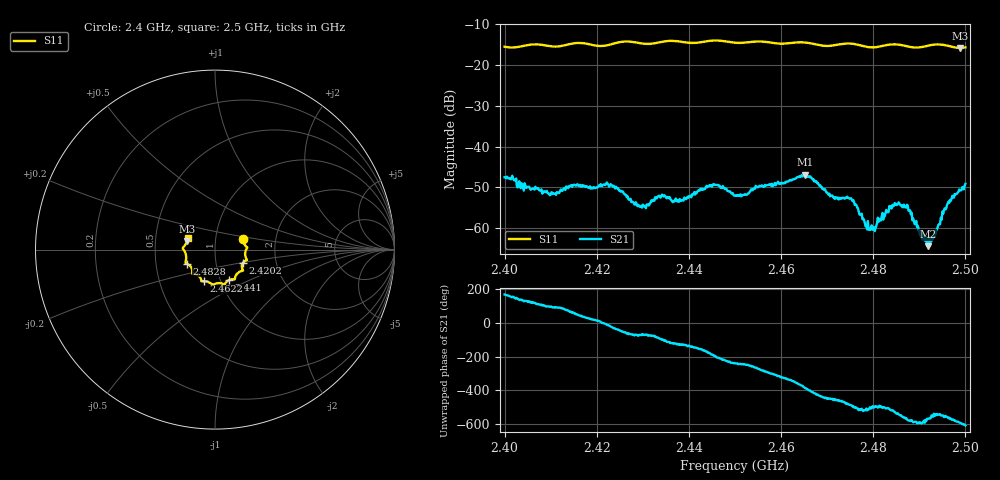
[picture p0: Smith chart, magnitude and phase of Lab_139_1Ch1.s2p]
# Hz S RI R 50
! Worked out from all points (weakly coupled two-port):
!   601 points, 2.4 GHz to 2.5 GHz, reference 50 ohm
!   highest |S21| = -46.91 dB at 2.4652 GHz (marker M1); lowest = -64.5 dB at 2.4918 GHz (marker M2)
!   lowest |S11| = -15.8 dB at 2.4988 GHz (marker M3), VSWR 1.39, Z = 36.4 + j3.43 ohm
!   |S11| at or under -10 dB: start of sweep to end of sweep
!   S12 and S22 are empty: the file has one direction only
!   S11 on the Smith chart (normalised r, x): 2.4 GHz: 1.36, +0.17; 2.4202 GHz: 1.35, -0.20; 2.441 GHz: 1.10, -0.39; 2.4622 GHz: 0.83, -0.30; 2.4828 GHz: 0.72, -0.12; 2.5 GHz: 0.73, +0.09
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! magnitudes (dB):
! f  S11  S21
! 2.4 GHz  -15.5  -47.6
! 2.41 GHz  -15.4  -51.8
! 2.4167 GHz  -14.6  -49.8
! 2.4202 GHz  -15.3  -50.0
! 2.4233 GHz  -14.8  -49.6
! 2.4293 GHz  -14.6  -54.8
! 2.4333 GHz  -14.5  -52.2
! 2.441 GHz  -14.6  -51.8
! 2.4457 GHz  -13.9  -49.4
! 2.45 GHz  -14.5  -52.1
! 2.4622 GHz  -14.6  -48.4
! 2.4652 GHz  -14.4  -46.9
! 2.4667 GHz  -14.7  -47.8
! 2.4712 GHz  -15.2  -52.1
! 2.4753 GHz  -14.7  -53.0
! 2.4788 GHz  -15.5  -58.3
! 2.4828 GHz  -15.1  -55.6
! 2.4833 GHz  -15.0  -56.1
! 2.4875 GHz  -15.4  -54.6
! 2.4918 GHz  -15.2  -64.5
! 2.4988 GHz  -15.8  -50.7
! 2.5 GHz  -15.6  -49.2
